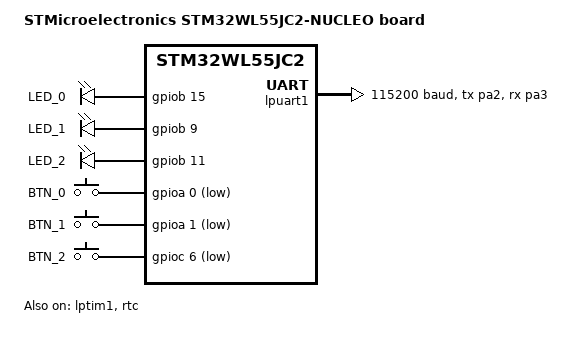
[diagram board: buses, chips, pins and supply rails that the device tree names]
/*
 * Copyright (c) 2020 STMicroelectronics
 *
 * SPDX-License-Identifier: Apache-2.0
 */

/dts-v1/;
#include <st/wl/stm32wl55Xc_cm4.dtsi>
#include <st/wl/stm32wl55jcix-pinctrl.dtsi>

/ {
	model = "STMicroelectronics STM32WL55JC2-NUCLEO board";
	compatible = "st,stm32wl55jc2-nucleo";

	chosen {
		zephyr,console = &lpuart1;
		zephyr,shell-uart = &lpuart1;
		zephyr,sram = &sram0;
		zephyr,flash = &flash0;
		zephyr,code-partition = &flash0;
	};

	leds {
		compatible = "gpio-leds";
		blue_led_1: led_0 {
			gpios = <&gpiob 15 GPIO_ACTIVE_HIGH>;
			label = "LED_0";
		};
		green_led_2: led_1 {
			gpios = <&gpiob 9 GPIO_ACTIVE_HIGH>;
			label = "LED_1";
		};
		green_led_3: led_2 {
			gpios = <&gpiob 11 GPIO_ACTIVE_HIGH>;
			label = "LED_2";
		};
	};

	gpio_keys {
		compatible = "gpio-keys";
		btn0: btn_0 {
			label = "BTN_0";
			gpios = <&gpioa 0 (GPIO_ACTIVE_LOW | GPIO_PULL_UP)>;
		};
		btn1: btn_1 {
			label = "BTN_1";
			gpios = <&gpioa 1 (GPIO_ACTIVE_LOW | GPIO_PULL_UP)>;
		};
		btn2: btn_2 {
			label = "BTN_2";
			gpios = <&gpioc 6 (GPIO_ACTIVE_LOW | GPIO_PULL_UP)>;
		};
	};
	subghz {
		compatible = "gpio-subghz";
		rf_sw_ctrl1: pin_0 {
			gpios = <&gpioc 4 GPIO_ACTIVE_LOW>;
			label = "RF_SW_CTRL1";
		};
		rf_sw_ctrl2: pin_1 {
			gpios = <&gpioc 5 GPIO_ACTIVE_LOW>;
			label = "RF_SW_CTRL2";
		};
		rf_sw_ctrl3: pin_2 {
			gpios = <&gpioc 3 GPIO_ACTIVE_LOW>;
			label = "RF_SW_CTRL3";
		};
		rf_tcxo_vcc: pin_3 {
			gpios = <&gpiob 0 GPIO_ACTIVE_LOW>;
			label = "RF_TXCO_VCC";
		};
		db_radio_rx: pin_4 {
			gpios = <&gpiob 12 GPIO_ACTIVE_LOW>;
			label = "DB_RADIO_RX";
		};
		db_radio_tx: pin_5 {
			gpios = <&gpiob 13 GPIO_ACTIVE_LOW>;
			label = "DB_RADIO_TX";
		};
	};

	aliases {
		led0 = &green_led_2;
		sw0 = &btn0;
		sw1 = &btn1;
		sw2 = &btn2;
		rfswctrl1 = &rf_sw_ctrl1;
		rfswctrl2 = &rf_sw_ctrl2;
		rfswctrl3 = &rf_sw_ctrl3;
		rftcxovcc = &rf_tcxo_vcc;
		dbradiorx = &db_radio_rx;
		dbradiotx = &db_radio_tx;
	};
};

&ipcc {
	buffer = <0x20000000 255>;
	status = "okay";
};

&lpuart1 {
	pinctrl-0 = <&lpuart1_tx_pa2 &lpuart1_rx_pa3>;
	current-speed = <115200>;
	status = "okay";
};

&i2c2 {
	pinctrl-0 = <&i2c2_scl_pa12 &i2c2_sda_pa11>;
	clock-frequency = <I2C_BITRATE_FAST>;
	status = "disabled";
};

&spi1 {
	pinctrl-0 = <&spi1_nss_pa4 &spi1_sck_pa5
		     &spi1_miso_pa6 &spi1_mosi_pa7>;
	status = "disabled";
};

&lptim1 {
	status = "okay";
};

&rtc {
	status = "okay";
};

&clk_hse {
	status = "okay";
};

&pll {
	div-m = <2>;
	mul-n = <6>;
	div-r = <2>;
	clocks = <&clk_hse>;
	status = "okay";
};

&rcc {
	clocks = <&pll>;
	clock-frequency = <DT_FREQ_M(48)>;
	cpu1-prescaler = <1>;
	cpu2-prescaler = <1>;
	ahb3-prescaler = <1>;
	apb1-prescaler = <1>;
	apb2-prescaler = <1>;
};
